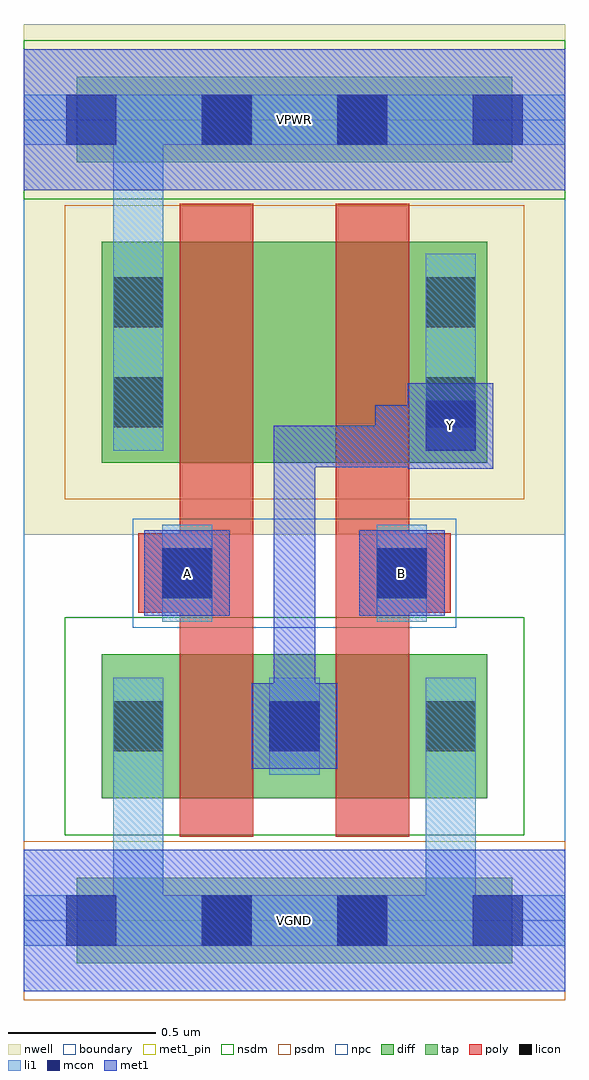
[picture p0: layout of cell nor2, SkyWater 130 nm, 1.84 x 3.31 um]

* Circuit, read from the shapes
.subckt nor2 A B VGND VPWR Y
XM1 Y A VGND VGND sky130_fd_pr__nfet_01v8 w=0.49 l=0.25
XM2 VGND B Y VGND sky130_fd_pr__nfet_01v8 w=0.49 l=0.25
XM3 n1 A VPWR VPWR sky130_fd_pr__pfet_01v8 w=0.75 l=0.25
XM4 Y B n1 VPWR sky130_fd_pr__pfet_01v8 w=0.75 l=0.25
.ends

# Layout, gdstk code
import gdstk
lib = gdstk.Library(unit=1e-6, precision=1e-09)
def R(c, l, rs):  # rectangles x0, y0, x1, y1
    for r in rs: c.add(gdstk.rectangle(r[:2], r[2:], *l))
def A(c, l, x, y, w, h, nx, ny, dx, dy):  # array of equal rectangles
    R(c, l, [(x+i*dx, y+j*dy, x+i*dx+w, y+j*dy+h) for i in range(nx) for j in range(ny)])
nwell = (64, 20)
diff = (65, 20)
tap = (65, 44)
poly = (66, 20)
licon = (66, 44)
li1 = (67, 20)
mcon = (67, 44)
met1_pin = (68, 16)
met1 = (68, 20)
nsdm = (93, 44)
psdm = (94, 20)
npc = (95, 20)
boundary = (235, 4)

nor2 = lib.new_cell('nor2')
R(nor2, nwell, [(0,1.31,1.84,3.045)])
R(nor2, diff, [(0.265,0.415,1.575,0.905), (0.265,1.555,1.575,2.305)])
R(nor2, tap, [(0.18,-0.145,1.66,0.145), (0.18,2.575,1.66,2.865)])
R(nor2, poly, [(0.53,0.285,0.78,2.435), (1.06,0.285,1.31,2.435), (0.39,1.045,0.72,1.315), (1.12,1.045,1.45,1.315)])
A(nor2, licon, 0.305, 0.575, 0.17, 0.17, 3, 1, 0.53, 0)
R(nor2, licon, [(0.605,-0.085,0.775,0.085), (1.065,-0.085,1.235,0.085), (0.47,1.095,0.64,1.265), (1.2,1.095,1.37,1.265), (0.305,1.675,0.475,1.845), (1.365,1.675,1.535,1.845), (0.305,2.015,0.475,2.185), (1.365,2.015,1.535,2.185), (0.605,2.635,0.775,2.805), (1.065,2.635,1.235,2.805)])
A(nor2, li1, 0.305, 0.495, 0.17, 0.33, 3, 1, 0.53, 0)
R(nor2, li1, [(0,-0.085,1.84,0.085), (0.305,-0.085,0.475,0.825), (1.365,-0.085,1.535,0.825), (0.47,1.015,0.64,1.345), (1.2,1.015,1.37,1.345), (0.305,1.595,0.475,2.265), (0.305,1.595,0.475,2.805), (1.365,1.595,1.535,2.265), (0,2.635,1.84,2.805)])
A(nor2, mcon, 0.145, -0.085, 0.17, 0.17, 4, 2, 0.46, 2.72)
R(nor2, mcon, [(0.835,0.575,1.005,0.745), (0.47,1.095,0.64,1.265), (1.2,1.095,1.37,1.265), (1.365,1.595,1.535,1.765)])
R(nor2, met1_pin, [(0,-0.24,1.84,0.24), (0.41,1.035,0.7,1.325), (1.14,1.035,1.43,1.325), (1.305,1.535,1.595,1.825), (0,2.48,1.84,2.96)])
R(nor2, met1, [(0,-0.24,1.84,0.24), (0.775,0.515,1.065,0.805), (0.85,0.62,0.99,0.76), (0.85,0.62,0.99,1.68), (0.41,1.035,0.7,1.325), (1.14,1.035,1.43,1.325), (1.305,1.535,1.595,1.825), (0.85,1.54,1.335,1.68), (1.195,1.54,1.335,1.75), (1.195,1.61,1.52,1.75), (0,2.48,1.84,2.96)])
R(nor2, nsdm, [(0.14,0.29,1.7,1.03), (0,2.45,1.84,2.99)])
R(nor2, psdm, [(0,-0.27,1.84,0.27), (0.14,1.43,1.7,2.43)])
R(nor2, npc, [(0.37,0.995,1.47,1.365)])
R(nor2, boundary, [(0,0,1.84,2.72)])
nor2.add(gdstk.Label('A', (0.555,1.18), layer=68, texttype=5))
nor2.add(gdstk.Label('B', (1.285,1.18), layer=68, texttype=5))
nor2.add(gdstk.Label('Y', (1.45,1.68), layer=68, texttype=5))
nor2.add(gdstk.Label('VPWR', (0.92,2.72), layer=68, texttype=5))
nor2.add(gdstk.Label('VGND', (0.92,0), layer=68, texttype=5))
nor2.add(gdstk.Label('A', (0.555,1.18), layer=68, texttype=16))
nor2.add(gdstk.Label('B', (1.285,1.18), layer=68, texttype=16))
nor2.add(gdstk.Label('Y', (1.45,1.68), layer=68, texttype=16))
nor2.add(gdstk.Label('VPWR', (0.92,2.72), layer=68, texttype=16))
nor2.add(gdstk.Label('VGND', (0.92,0), layer=68, texttype=16))

lib.write_gds('nor2.gds')
